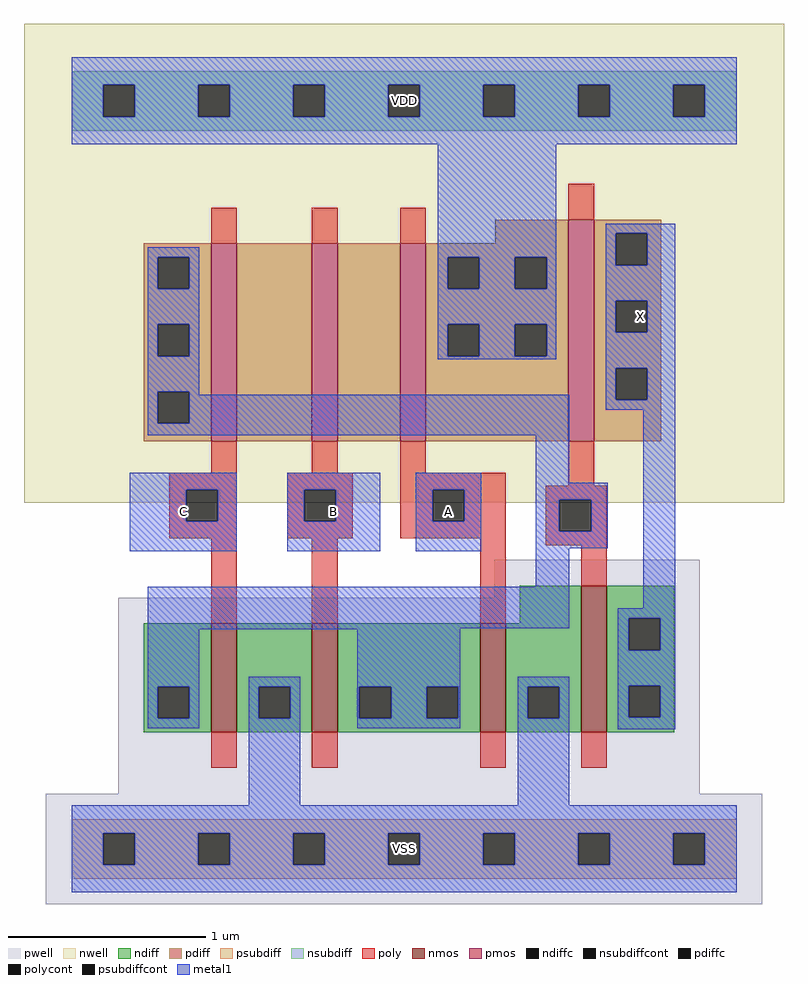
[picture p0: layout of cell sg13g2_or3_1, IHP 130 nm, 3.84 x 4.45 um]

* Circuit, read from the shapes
.subckt sg13g2_or3_1 VDD VSS C B A X
XM1 VSS C n1 VSS sg13_lv_nmos w=0.55u l=0.13u
XM2 n1 B VSS VSS sg13_lv_nmos w=0.55u l=0.13u
XM3 VSS A n1 VSS sg13_lv_nmos w=0.55u l=0.13u
XM4 X n1 VSS VSS sg13_lv_nmos w=0.74u l=0.13u
XM5 n2 C n1 VDD sg13_lv_pmos w=1u l=0.13u
XM6 n3 B n2 VDD sg13_lv_pmos w=1u l=0.13u
XM7 VDD A n3 VDD sg13_lv_pmos w=1u l=0.13u
XM8 X n1 VDD VDD sg13_lv_pmos w=1.12u l=0.13u
.ends

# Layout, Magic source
magic
tech ihp-sg13g2
magscale 1 2
<< nwell >>
rect -48 350 720 834
<< pwell >>
rect 427 254 635 292
rect 47 56 635 254
rect -26 -56 698 56
<< nmos >>
rect 141 118 167 228
rect 243 118 269 228
rect 413 118 439 228
rect 515 118 541 266
<< pmos >>
rect 141 412 167 612
rect 243 412 269 612
rect 332 412 358 612
rect 502 412 528 636
<< ndiff >>
rect 453 228 515 266
rect 73 164 141 228
rect 73 132 87 164
rect 119 132 141 164
rect 73 118 141 132
rect 167 164 243 228
rect 167 132 189 164
rect 221 132 243 164
rect 167 118 243 132
rect 269 164 413 228
rect 269 132 291 164
rect 323 132 359 164
rect 391 132 413 164
rect 269 118 413 132
rect 439 164 515 228
rect 439 132 461 164
rect 493 132 515 164
rect 439 118 515 132
rect 541 233 609 266
rect 541 201 563 233
rect 595 201 609 233
rect 541 165 609 201
rect 541 133 563 165
rect 595 133 609 165
rect 541 118 609 133
<< pdiff >>
rect 428 612 502 636
rect 73 598 141 612
rect 73 566 87 598
rect 119 566 141 598
rect 73 530 141 566
rect 73 498 87 530
rect 119 498 141 530
rect 73 462 141 498
rect 73 430 87 462
rect 119 430 141 462
rect 73 412 141 430
rect 167 412 243 612
rect 269 412 332 612
rect 358 598 502 612
rect 358 566 380 598
rect 412 566 448 598
rect 480 566 502 598
rect 358 530 502 566
rect 358 498 380 530
rect 412 498 448 530
rect 480 498 502 530
rect 358 412 502 498
rect 528 622 596 636
rect 528 590 550 622
rect 582 590 596 622
rect 528 554 596 590
rect 528 522 550 554
rect 582 522 596 554
rect 528 486 596 522
rect 528 454 550 486
rect 582 454 596 486
rect 528 412 596 454
<< ndiffc >>
rect 87 132 119 164
rect 189 132 221 164
rect 291 132 323 164
rect 359 132 391 164
rect 461 132 493 164
rect 563 201 595 233
rect 563 133 595 165
<< pdiffc >>
rect 87 566 119 598
rect 87 498 119 530
rect 87 430 119 462
rect 380 566 412 598
rect 448 566 480 598
rect 380 498 412 530
rect 448 498 480 530
rect 550 590 582 622
rect 550 522 582 554
rect 550 454 582 486
<< psubdiff >>
rect 0 16 672 30
rect 0 -16 32 16
rect 64 -16 128 16
rect 160 -16 224 16
rect 256 -16 320 16
rect 352 -16 416 16
rect 448 -16 512 16
rect 544 -16 608 16
rect 640 -16 672 16
rect 0 -30 672 -16
<< nsubdiff >>
rect 0 772 672 786
rect 0 740 32 772
rect 64 740 128 772
rect 160 740 224 772
rect 256 740 320 772
rect 352 740 416 772
rect 448 740 512 772
rect 544 740 608 772
rect 640 740 672 772
rect 0 726 672 740
<< psubdiffcont >>
rect 32 -16 64 16
rect 128 -16 160 16
rect 224 -16 256 16
rect 320 -16 352 16
rect 416 -16 448 16
rect 512 -16 544 16
rect 608 -16 640 16
<< nsubdiffcont >>
rect 32 740 64 772
rect 128 740 160 772
rect 224 740 256 772
rect 320 740 352 772
rect 416 740 448 772
rect 512 740 544 772
rect 608 740 640 772
<< poly >>
rect 141 612 167 648
rect 243 612 269 648
rect 332 612 358 648
rect 502 636 528 672
rect 141 380 167 412
rect 243 380 269 412
rect 332 380 358 412
rect 99 363 167 380
rect 99 331 116 363
rect 148 331 167 363
rect 99 314 167 331
rect 218 363 284 380
rect 218 331 235 363
rect 267 331 284 363
rect 218 314 284 331
rect 332 363 439 380
rect 502 367 528 412
rect 332 331 365 363
rect 397 331 439 363
rect 332 314 439 331
rect 141 228 167 314
rect 243 228 269 314
rect 413 228 439 314
rect 479 353 541 367
rect 479 321 493 353
rect 525 321 541 353
rect 479 307 541 321
rect 515 266 541 307
rect 141 82 167 118
rect 243 82 269 118
rect 413 82 439 118
rect 515 82 541 118
<< polycont >>
rect 116 331 148 363
rect 235 331 267 363
rect 365 331 397 363
rect 493 321 525 353
<< metal1 >>
rect 0 772 672 800
rect 0 740 32 772
rect 64 740 128 772
rect 160 740 224 772
rect 256 740 320 772
rect 352 740 416 772
rect 448 740 512 772
rect 544 740 608 772
rect 640 740 672 772
rect 0 712 672 740
rect 77 598 129 608
rect 77 566 87 598
rect 119 566 129 598
rect 77 530 129 566
rect 77 498 87 530
rect 119 498 129 530
rect 77 462 129 498
rect 370 598 490 712
rect 370 566 380 598
rect 412 566 448 598
rect 480 566 490 598
rect 370 530 490 566
rect 370 498 380 530
rect 412 498 448 530
rect 480 498 490 530
rect 370 495 490 498
rect 540 622 610 632
rect 540 590 550 622
rect 582 590 610 622
rect 540 554 610 590
rect 540 522 550 554
rect 582 522 610 554
rect 77 430 87 462
rect 119 459 129 462
rect 540 486 610 522
rect 119 430 503 459
rect 540 454 550 486
rect 582 454 610 486
rect 540 444 610 454
rect 77 418 503 430
rect 59 363 167 380
rect 59 331 116 363
rect 148 331 167 363
rect 59 301 167 331
rect 218 363 312 380
rect 218 331 235 363
rect 267 331 312 363
rect 218 301 312 331
rect 348 363 414 380
rect 348 331 365 363
rect 397 331 414 363
rect 348 301 414 331
rect 469 370 503 418
rect 469 353 542 370
rect 469 321 493 353
rect 525 321 542 353
rect 469 304 542 321
rect 469 265 503 304
rect 77 223 503 265
rect 578 243 610 444
rect 552 233 610 243
rect 77 222 393 223
rect 77 164 129 222
rect 77 132 87 164
rect 119 132 129 164
rect 77 122 129 132
rect 179 164 231 174
rect 179 132 189 164
rect 221 132 231 164
rect 179 44 231 132
rect 289 164 393 222
rect 552 201 563 233
rect 595 201 610 233
rect 289 132 291 164
rect 323 132 359 164
rect 391 132 393 164
rect 289 122 393 132
rect 451 164 503 174
rect 451 132 461 164
rect 493 132 503 164
rect 451 44 503 132
rect 552 165 610 201
rect 552 133 563 165
rect 595 133 610 165
rect 552 121 610 133
rect 0 16 672 44
rect 0 -16 32 16
rect 64 -16 128 16
rect 160 -16 224 16
rect 256 -16 320 16
rect 352 -16 416 16
rect 448 -16 512 16
rect 544 -16 608 16
rect 640 -16 672 16
rect 0 -44 672 -16
<< labels >>
flabel metal1 s 0 712 672 800 0 FreeSans 400 0 0 0 VDD
port 2 nsew
flabel metal1 s 0 -44 672 44 0 FreeSans 400 0 0 0 VSS
port 3 nsew
flabel metal1 s 59 301 167 380 0 FreeSans 400 0 0 0 C
port 4 nsew
flabel metal1 s 218 301 312 380 0 FreeSans 400 0 0 0 B
port 5 nsew
flabel metal1 s 348 301 414 380 0 FreeSans 400 0 0 0 A
port 6 nsew
flabel metal1 s 540 444 610 632 0 FreeSans 400 0 0 0 X
port 7 nsew
<< properties >>
string FIXED_BBOX 0 0 672 756
<< end >>
